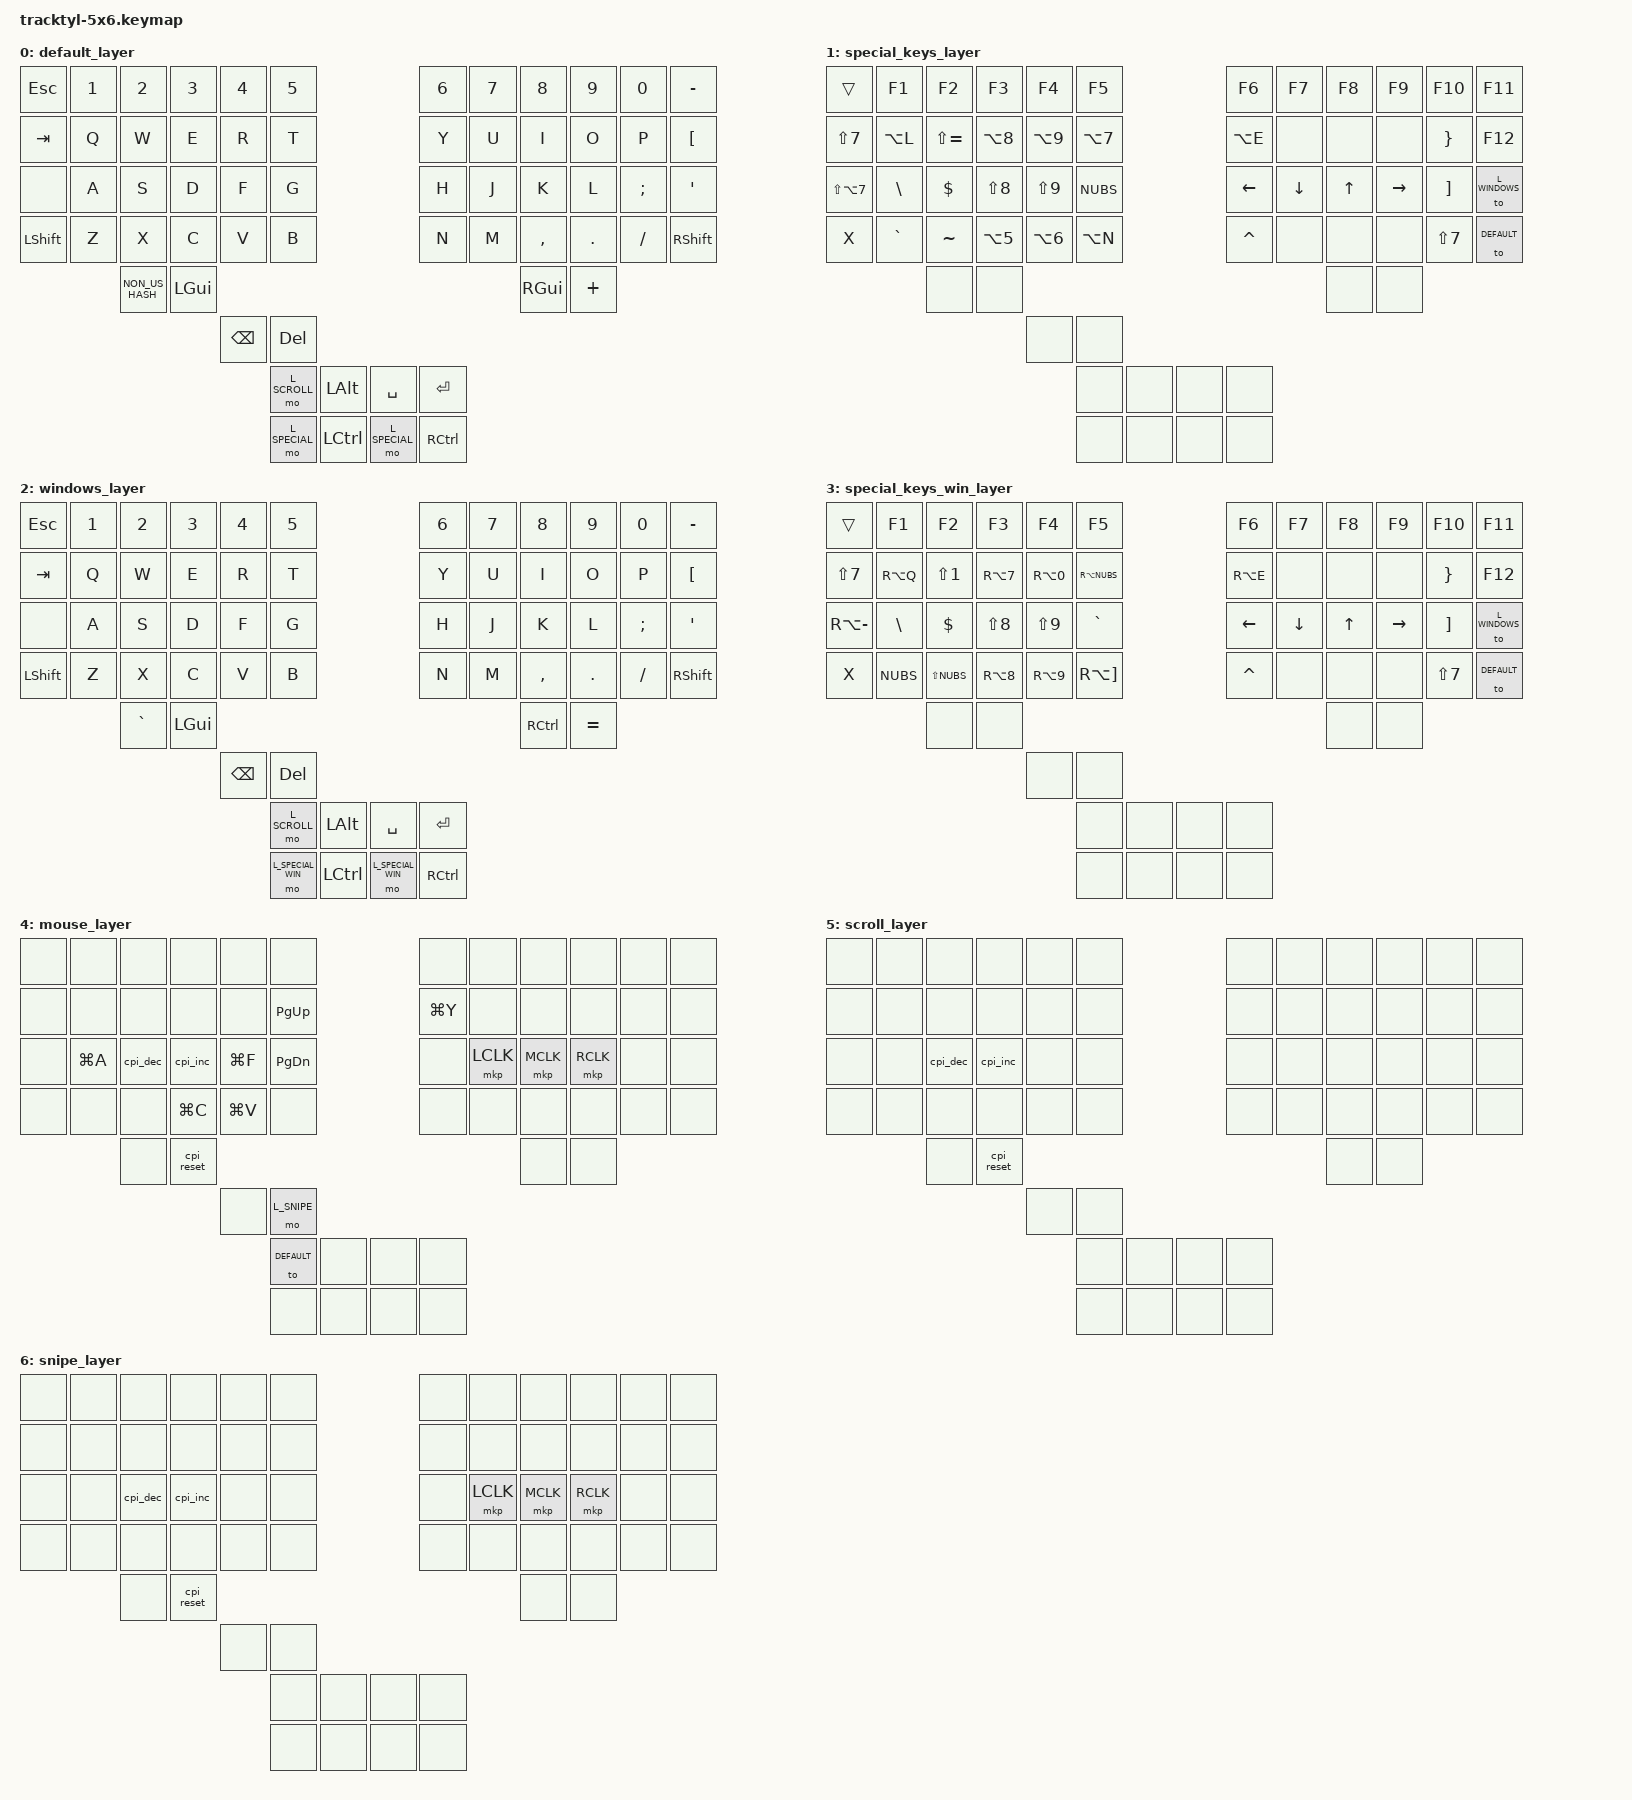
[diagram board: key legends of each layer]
#include <behaviors.dtsi>
#include <dt-bindings/zmk/keys.h>
#include <dt-bindings/zmk/bt.h>
#include <dt-bindings/zmk/outputs.h>
#include <dt-bindings/zmk/mouse.h>


#define DEFAULT 0
#define L_SPECIAL 1
#define L_WINDOWS 2
#define L_SPECIAL_WIN 3
#define L_MOUSE 4
#define L_SCROLL 5
#define L_SNIPE 6

/ {
    keymap {
        compatible = "zmk,keymap";

        default_layer {
// Commented layout is not actual layout.
// -------------------------------------------------------------------------------------------------------------------------
// |   ESC   |    1    |    2    |    3    |    4    |    5    |                   |    6    |    7    |    8    |    9    |    0    |  BSPC   |
// |   TAB   |    Q    |    W    |    E    |    R    |    T    |                   |    Y    |    U    |    I    |    O    |    P    |    \    |
// |  LALT   |    A    |    S    |    D    |    F    |    G    |                   |    H    |    J    |    K    |    L    |    ;    |    '    |
// |  LCTRL  |    Z    |    X    |    C    |    V    |    B    |                   |    N    |    M    |    ,    |    .    |    /    |  RALT   |
//                     |    [    |    ]    |                                                           |    -    |    =    |
//                                         | MO lay 1| SPACE   |                   | ENTER   | MO lay 2|
//                                                   |   TAB   |   HOME  |   END   |   DEL   |
//                                                   |  Raise  |    ~    |   GUI   |  Lower  |
            bindings = <
&kp ESC         &kp N1      &kp N2      &kp N3      &kp N4      &kp N5                                          &kp N6       &kp N7      &kp N8      &kp N9      &kp N0      &kp MINUS
&kp TAB         &kp Q       &kp W       &kp E       &kp R       &kp T                                           &kp Y        &kp U       &kp I       &kp O       &kp P       &kp LBKT
&none           &kp A       &kp S       &kp D       &kp F       &kp G                                           &kp H        &kp J       &kp K       &kp L       &kp SEMI    &kp SQT
&kp LSHIFT      &kp Z       &kp X       &kp C       &kp V       &kp B                                           &kp N        &kp M       &kp COMMA   &kp DOT     &kp FSLH    &kp RSHIFT
                            &kp NON_US_HASH  &kp LGUI                                                                                    &kp RGUI    &kp PLUS
                                                    &kp BSPC    &kp DEL
                                                                &mo L_SCROLL   &kp LALT        &kp SPACE        &kp RET
                                                                &mo L_SPECIAL  &kp LCTRL       &mo L_SPECIAL    &kp RCTRL
            >;
        };

        special_keys_layer {
            bindings = <
&trans          &kp F1     &kp F2       &kp F3      &kp F4      &kp F5                                          &kp F6       &kp F7      &kp F8      &kp F9      &kp F10     &kp F11
&kp LS(N7)      &kp LA(L)  &kp LS(EQUAL) &kp LA(N8)  &kp LA(N9)  &kp LA(N7)                                      &kp LA(E)    &none       &none       &none       &kp RBRC    &kp F12
&kp LS(LA(N7))  &kp BSLH   &kp DLLR     &kp LS(N8)  &kp LS(N9)  &kp NUBS                                        &kp LEFT     &kp DOWN    &kp UP      &kp RIGHT   &kp RBKT    &to L_WINDOWS
&kp X           &kp GRAVE  &kp TILDE    &kp LA(N5)  &kp LA(N6)  &kp LA(N)                                       &kp CARET    &none       &none       &none       &kp LS(N7)  &to DEFAULT
                           &none        &none                                                                                            &none       &none
                                                    &none       &none
                                                                &none          &none                  &none     &none
                                                                &none          &none                  &none     &none
            >;
        };

        windows_layer {
// Windows mode - GUI and CTRL are swapped, plus special characters remapped for US layout
            bindings = <
&kp ESC    &kp N1     &kp N2    &kp N3     &kp N4     &kp N5                                      &kp N6     &kp N7     &kp N8     &kp N9     &kp N0         &kp MINUS
&kp TAB    &kp Q      &kp W     &kp E      &kp R      &kp T                                       &kp Y      &kp U      &kp I      &kp O      &kp P          &kp LBKT
&none      &kp A      &kp S     &kp D      &kp F      &kp G                                       &kp H      &kp J      &kp K      &kp L      &kp SEMI       &kp SQT
&kp LSHIFT &kp Z      &kp X     &kp C      &kp V      &kp B                                       &kp N      &kp M      &kp COMMA  &kp DOT    &kp FSLH       &kp RSHIFT
               &kp GRAVE        &kp LGUI                                                                                &kp RCTRL  &kp EQUAL
                                           &kp BSPC   &kp DEL
                                                      &mo L_SCROLL      &kp LALT            &kp SPACE   &kp RET
                                                      &mo L_SPECIAL_WIN &kp LCTRL           &mo L_SPECIAL_WIN &kp RCTRL
            >;
        };

        special_keys_win_layer {
// Special keys remapped for Windows US keyboard layout
            bindings = <
&trans          &kp F1     &kp F2       &kp F3      &kp F4      &kp F5                                          &kp F6       &kp F7      &kp F8      &kp F9      &kp F10     &kp F11
&kp LS(N7)      &kp RA(Q)  &kp LS(N1)   &kp RA(N7)  &kp RA(N0)  &kp RA(NUBS)                                    &kp RA(E)    &none       &none       &none       &kp RBRC    &kp F12
&kp RA(MINUS)   &kp BSLH   &kp DLLR     &kp LS(N8)  &kp LS(N9)  &kp GRAVE                                       &kp LEFT     &kp DOWN    &kp UP      &kp RIGHT   &kp RBKT    &to L_WINDOWS
&kp X           &kp NUBS   &kp LS(NUBS) &kp RA(N8)  &kp RA(N9)  &kp RA(RBKT)                                    &kp CARET    &none       &none       &none       &kp LS(N7)  &to DEFAULT
                           &none        &none                                                                                            &none       &none
                                                    &none       &none
                                                                &none          &none                  &none     &none
                                                                &none          &none                  &none     &none
            >;
        };

        mouse_layer {
            bindings = <
&none      &none      &none    &none      &none        &none                            &none      &none      &none     &none      &none          &none
&none      &none      &none    &none      &none        &kp PG_UP                        &kp LG(Y)  &none      &none     &none      &none          &none
&none      &kp LG(A)  &cpi_dec &cpi_inc   &kp LG(F)    &kp PG_DN                        &none      &mkp LCLK  &mkp MCLK &mkp RCLK  &none          &none
&none      &none      &none    &kp LG(C)  &kp LG(V)    &none                            &none      &none      &none     &none      &none          &none
                      &none    &cpi_reset                                                                     &none     &none
                                          &none        &mo L_SNIPE
                                                       &to DEFAULT  &none         &none     &none
                                                       &none        &none         &none     &none
            >;
        };

        scroll_layer {
            bindings = <
&none     &none     &none    &none     &none     &none                          &none     &none     &none     &none     &none         &none
&none     &none     &none    &none     &none     &none                          &none     &none     &none     &none     &none         &none
&none     &none     &cpi_dec &cpi_inc  &none     &none                          &none     &none     &none     &none     &none         &none
&none     &none     &none    &none     &none     &none                          &none     &none     &none     &none     &none         &none
                    &none    &cpi_reset                                                             &none     &none
                                           &none     &none
                                                      &none   &none        &none   &none
                                                      &none   &none        &none   &none
            >;
        };

        snipe_layer {
            bindings = <
&none     &none     &none    &none     &none     &none                          &none     &none     &none     &none     &none         &none
&none     &none     &none    &none     &none     &none                          &none     &none     &none     &none     &none         &none
&none     &none     &cpi_dec &cpi_inc  &none     &none                          &none     &mkp LCLK &mkp MCLK &mkp RCLK &none         &none
&none     &none     &none    &none     &none     &none                          &none     &none     &none     &none     &none         &none
                    &none    &cpi_reset                                                             &none     &none
                                           &none     &none
                                                      &none   &none        &none   &none
                                                      &none   &none        &none   &none
            >;
        };

   };
};
